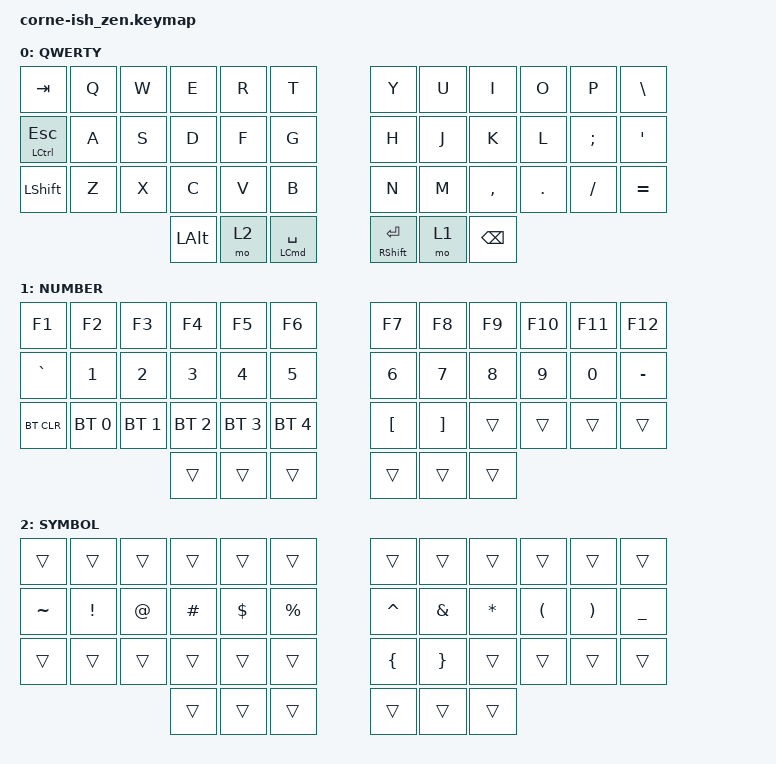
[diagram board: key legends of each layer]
/*
*
* Copyright (c) 2021 Darryl deHaan
* SPDX-License-Identifier: MIT
*
*/

#include <behaviors.dtsi>
#include <dt-bindings/zmk/keys.h>
#include <dt-bindings/zmk/bt.h>

&mt {
    flavor = "balanced";
    tapping-term-ms = <200>;
    quick-tap-ms = <125>;
};

/ {
        keymap {
                compatible = "zmk,keymap";

                default_layer {
                        label = "QWERTY";
// -----------------------------------------------------------------------------------------
// |  TAB |  Q  |  W  |  E  |  R  |  T  |   |  Y  |  U   |  I  |  O  |  P  |  \   |
// | CTRL |  A  |  S  |  D  |  F  |  G  |   |  H  |  J   |  K  |  L  |  ;  |  '   |
// | SHFT |  Z  |  X  |  C  |  V  |  B  |   |  N  |  M   |  ,  |  .  |  /  |  =   |
//                    |LALT | RSE | SPC |   | ENT | LWR  | BSPC|
                        bindings = <
   &kp TAB       &kp Q &kp W &kp E &kp R &kp T        &kp Y &kp U  &kp I     &kp O   &kp P    &kp BSLH
   &mt LCTRL ESC &kp A &kp S &kp D &kp F &kp G        &kp H &kp J  &kp K     &kp L   &kp SEMI &kp SQT
   &kp LSHFT     &kp Z &kp X &kp C &kp V &kp B        &kp N &kp M  &kp COMMA &kp DOT &kp FSLH &kp EQUAL
                  &kp LALT &mo 2 &mt LCMD SPACE   &mt RSHFT RET &mo 1 &kp BSPC 
                        >;
                };
                lower_layer {
                        label = "NUMBER";
// -----------------------------------------------------------------------------------------
// | F1   |  F2 | F3  | F4  | F5  |  F6 |   |  F7 | F8  |F9   | F10 | F11 | F12  |
// |  `   |  1  |  2  |  3  |  4  |  5  |   |  6  |  7  |  8  |  9  |  0  | -    |
// | BTCLR| BT1 | BT2 | BT3 | BT4 | BT5 |   | [   | ]   |     |     |     |      |
//                    |     |     |     |   |     |     |     |
                        bindings = <
   &kp F1       &kp F2        &kp F3       &kp F4       &kp F5       &kp F6         &kp F7   &kp F8   &kp F9 &kp F10 &kp F11 &kp F12
   &kp GRAVE    &kp N1        &kp N2       &kp N3       &kp N4       &kp N5         &kp N6   &kp N7   &kp N8 &kp N9  &kp N0  &kp MINUS
   &bt BT_CLR   &bt BT_SEL 0  &bt BT_SEL 1 &bt BT_SEL 2 &bt BT_SEL 3 &bt BT_SEL 4   &kp LBKT &kp RBKT &trans &trans  &trans  &trans
                          	        &trans     &trans       &trans      &trans  &trans   &trans
                        >;
                };

                raise_layer {
                        label = "SYMBOL";
// -----------------------------------------------------------------------------------------
// |      |     |     |     |     |     |   |     |     |     |     |     |  `   |
// |  ~   |  !  |  @  |  #  |  $  |  %  |   |  ^  |  &  |  *  |  (  |  )  |  _   |
// |      |     |     |     |     |     |   |  {  |  }  |     |     |     |      |
//                    |     |     |     |   |     |     |     |
                        bindings = <
   &trans &trans   &trans &trans   &trans   &trans      &trans    &trans    &trans   &trans   &trans   &trans
   &kp TILDE &kp EXCL &kp AT &kp HASH &kp DLLR &kp PRCNT   &kp CARET &kp AMPS  &kp STAR &kp LPAR &kp RPAR &kp UNDER 
   &trans &trans   &trans &trans   &trans   &trans      &kp LBRC  &kp RBRC  &trans   &trans   &trans   &trans
                    	     &trans   &trans   &trans      &trans    &trans    &trans
                        >;
                };
        };
};
